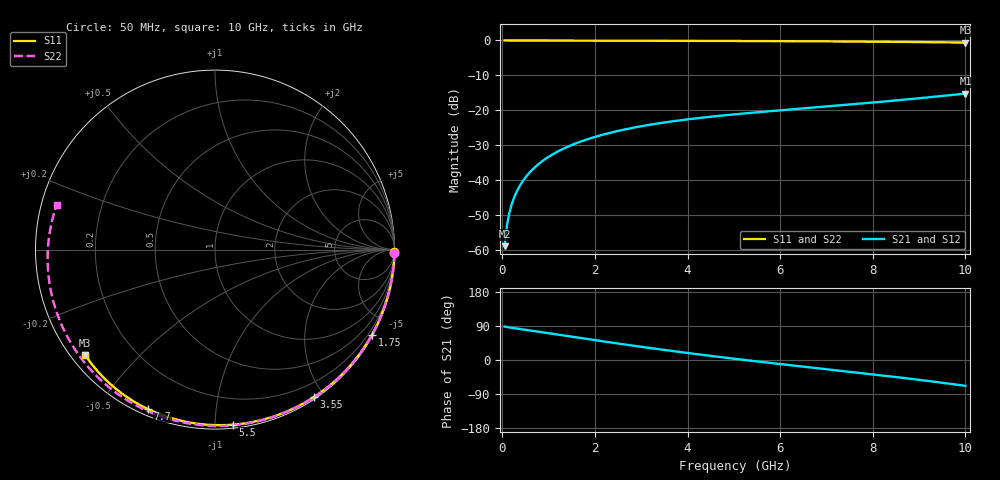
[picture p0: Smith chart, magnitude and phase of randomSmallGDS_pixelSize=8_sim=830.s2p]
! freq	dB(S11)	phase(S11)	dB(S12)	phase(S12)
!  dB(S21)	phase(S21)	dB(S22)	phase(S22)
!S-par simulation data
#  GHz  S  DB  R 50
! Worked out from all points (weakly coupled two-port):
!   200 points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, 50 MHz to 10 GHz, reference 50 ohm
!   highest |S21| = -15.20 dB at 10 GHz (marker M1); lowest = -58.9 dB at 50 MHz (marker M2)
!   lowest |S11| = -0.6 dB at 10 GHz (marker M3), VSWR 28.26, Z = 1.99 - j17.7 ohm
!   |S11| at or under -10 dB: nowhere
!   |S22| runs from -0.8 to 0.0 dB; largest |S21 - S12| = 0
!   S11 on the Smith chart (normalised r, x): 50 MHz: open; 1.75 GHz: 0.04, -3.94; 3.55 GHz: 0.02, -1.87; 5.5 GHz: 0.02, -1.11; 7.7 GHz: 0.03, -0.67; 10 GHz: 0.04, -0.35
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0.05  -0.00 -0.8  -58.86 88.3  -58.86 88.3  -0.00 -1.1
0.1  -0.00 -1.7  -52.92 86.9  -52.92 86.9  -0.00 -2.2
0.15  -0.00 -2.5  -49.48 85.9  -49.48 85.9  -0.00 -3.3
0.2  -0.00 -3.3  -47.03 85.0  -47.03 85.0  -0.00 -4.4
0.25  -0.00 -4.1  -45.13 84.1  -45.13 84.1  -0.00 -5.5
0.35  -0.00 -5.8  -42.26 82.4  -42.26 82.4  -0.01 -7.7
0.5  -0.01 -8.3  -39.20 79.7  -39.20 79.7  -0.01 -11.0
0.7  -0.01 -11.5  -36.32 76.1  -36.32 76.1  -0.02 -15.3
1  -0.02 -16.4  -33.29 70.6  -33.29 70.6  -0.03 -21.8
1.35  -0.03 -22.1  -30.78 64.1  -30.78 64.1  -0.04 -29.3
1.75  -0.04 -28.5  -28.66 56.8  -28.66 56.8  -0.05 -37.7
2.6  -0.07 -41.9  -25.59 41.7  -25.59 41.7  -0.08 -55.2
3.4  -0.09 -54.0  -23.67 28.2  -23.67 28.2  -0.11 -71.1
3.55  -0.09 -56.3  -23.37 25.7  -23.37 25.7  -0.12 -74.0
4.3  -0.12 -67.3  -22.11 13.9  -22.11 13.9  -0.15 -88.3
5.05  -0.15 -77.9  -21.09 2.7  -21.09 2.7  -0.19 -102.1
5.5  -0.17 -84.1  -20.56 -3.8  -20.56 -3.8  -0.21 -110.3
6.7  -0.24 -100.0  -19.23 -20.2  -19.23 -20.2  -0.30 -131.7
7.7  -0.32 -112.7  -18.12 -33.8  -18.12 -33.8  -0.40 -149.7
8.35  -0.38 -120.8  -17.35 -42.8  -17.35 -42.8  -0.48 -161.8
9.2  -0.49 -131.2  -16.28 -55.3  -16.28 -55.3  -0.61 -178.5
10  -0.61 -140.9  -15.20 -68.2  -15.20 -68.2  -0.75 164.4
